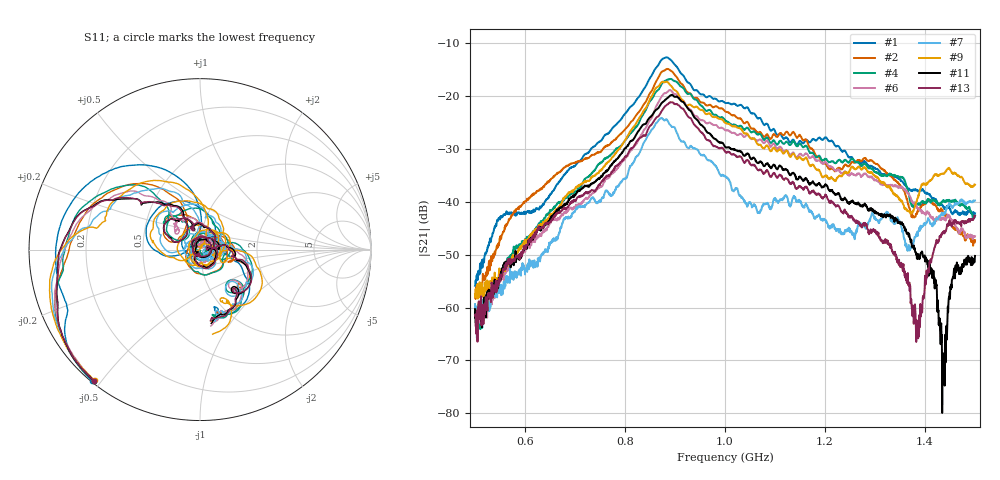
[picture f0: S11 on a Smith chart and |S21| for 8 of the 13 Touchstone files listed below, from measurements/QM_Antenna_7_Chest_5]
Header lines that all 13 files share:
!Agilent Technologies,E8364B,US42250235,A.06.04.32
!Agilent E8364B: A.06.04.32
!Correction: S11(Full 2 Port(1,2)) S21(Full 2 Port(1,2)) S12(Full 2 Port(1,2)) S22(Full 2 Port(1,2))
!S2P File: Measurements: S11, S21, S12, S22:
# Hz S  dB  R 50
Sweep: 500 MHz to 1.5 GHz
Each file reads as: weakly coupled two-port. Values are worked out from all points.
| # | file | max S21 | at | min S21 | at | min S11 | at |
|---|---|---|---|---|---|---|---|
| 1 | 0_2.s2p | -12.62 dB | 883.1 MHz | -55.9 dB | 500 MHz | -32.3 dB | 1.011 GHz |
| 2 | 0_4.s2p | -14.81 dB | 885 MHz | -58.4 dB | 501.2 MHz | -52.5 dB | 1.164 GHz |
| 3 | 0_6.s2p | -16.73 dB | 888.8 MHz | -60.9 dB | 501.2 MHz | -31.9 dB | 893.8 MHz |
| 4 | 0_7.s2p | -16.72 dB | 890.6 MHz | -64.1 dB | 510.6 MHz | -44.4 dB | 955.6 MHz |
| 5 | 0_8.s2p | -17.15 dB | 889.4 MHz | -64.2 dB | 506.2 MHz | -40.5 dB | 1.123 GHz |
| 6 | 0_10.s2p | -18.82 dB | 889.4 MHz | -63.5 dB | 501.2 MHz | -38.5 dB | 874.4 MHz |
| 7 | 1_2.s2p | -24.08 dB | 873.1 MHz | -65.8 dB | 503.8 MHz | -47.1 dB | 1.004 GHz |
| 8 | 1_3.s2p | -22.05 dB | 883.1 MHz | -67.5 dB | 501.2 MHz | -48.0 dB | 847.5 MHz |
| 9 | 2_2.s2p | -17.21 dB | 883.1 MHz | -58.3 dB | 505.6 MHz | -51.3 dB | 713.8 MHz |
| 10 | 3_6.s2p | -19.03 dB | 903.1 MHz | -66.6 dB | 500.6 MHz | -29.7 dB | 1.124 GHz |
| 11 | 4_6.s2p | -19.73 dB | 893.8 MHz | -79.9 dB | 1.434 GHz | -35.3 dB | 1.12 GHz |
| 12 | 5_1.s2p | -25.76 dB | 873.1 MHz | -69.8 dB | 505 MHz | -34.1 dB | 1.173 GHz |
| 13 | 5_6.s2p | -21.13 dB | 890.6 MHz | -66.5 dB | 1.383 GHz | -33.6 dB | 1.097 GHz |
